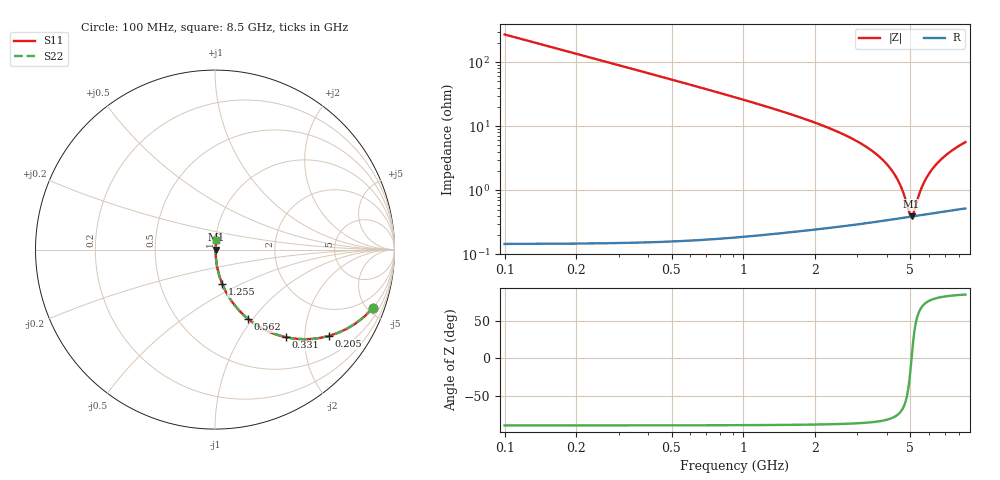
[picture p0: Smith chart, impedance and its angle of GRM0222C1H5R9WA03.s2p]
!Murata Part Number: GRM0222C1H5R9WA03
!These Parameters are Measured in Series Mode Connection
!Data Generated on Mar 30, 2021
!  o--ll--o
!Port1  Port2
!  o------o
!Operation Temp=25[degC], DC Bias Voltage=0[V]
!Freq. Start=100[MHz] Stop=9[GHz] 401[Steps]
# Hz S RI R 50
!Freq.(Hz) S11(Real) S11(Imag) S21(Real) S21(Imag) S12(Real) S12(Imag) S22(Real) S22(Imag)
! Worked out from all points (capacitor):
!   401 points, 100 MHz to 8.5 GHz, reference 50 ohm
!   read as one part in series: C = 5.9 pF near 142 MHz
!   lowest |Z| = 390 mohm at 5.056 GHz (marker M1)
!   series resonance near 5.059 GHz, so ESL is about 170 pH
!   S11 on the Smith chart (normalised r, x): 100 MHz: 1.00, -5.39; 205 MHz: 1.00, -2.63; 331 MHz: 1.00, -1.62; 562 MHz: 1.00, -0.95; 1.255 GHz: 1.00, -0.40; 8.5 GHz: 1.01, +0.11
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1e8  0.879 -0.3259  0.121 0.3259  0.121 0.3259  0.879 -0.3259
1.42e8  0.7826 -0.4121  0.2174 0.4121  0.2174 0.4121  0.7826 -0.4121
2.05e8  0.6329 -0.4814  0.3671 0.4814  0.3671 0.4814  0.6329 -0.4814
3.31e8  0.3971 -0.4884  0.6029 0.4884  0.6029 0.4884  0.3971 -0.4884
4.36e8  0.2741 -0.4448  0.7259 0.4448  0.7259 0.4448  0.2741 -0.4448
5.62e8  0.1841 -0.3858  0.8159 0.3858  0.8159 0.3858  0.1841 -0.3858
8.35e8  0.0909 -0.2847  0.9091 0.2847  0.9091 0.2847  0.0909 -0.2847
1.255e9  0.0407 -0.1925  0.9593 0.1925  0.9593 0.1925  0.0407 -0.1925
1.507e9  0.0277 -0.1576  0.9723 0.1576  0.9723 0.1576  0.0277 -0.1576
2.914e9  0.0066 -0.0607  0.9934 0.0607  0.9934 0.0607  0.0066 -0.0607
3.733e9  0.00432 -0.0323  0.9957 0.0323  0.9957 0.0323  0.00432 -0.0323
4.3e9  0.00383 -0.017  0.9962 0.017  0.9962 0.017  0.00383 -0.017
4.594e9  0.00378 -0.0101  0.9962 0.0101  0.9962 0.0101  0.00378 -0.0101
4.951e9  0.00385 -0.00225  0.9962 0.00225  0.9962 0.00225  0.00385 -0.00225
5.056e9  0.00389 -6.78e-05  0.9961 6.78e-05  0.9961 6.78e-05  0.00389 -6.78e-05
5.14e9  0.00393 0.00164  0.9961 -0.00164  0.9961 -0.00164  0.00393 0.00164
5.434e9  0.00411 0.00742  0.9959 -0.00742  0.9959 -0.00742  0.00411 0.00742
5.707e9  0.00433 0.0125  0.9957 -0.0125  0.9957 -0.0125  0.00433 0.0125
5.98e9  0.00459 0.0174  0.9954 -0.0174  0.9954 -0.0174  0.00459 0.0174
6.295e9  0.00493 0.0228  0.9951 -0.0228  0.9951 -0.0228  0.00493 0.0228
7.114e9  0.00601 0.0357  0.994 -0.0357  0.994 -0.0357  0.00601 0.0357
8.5e9  0.00827 0.0554  0.9917 -0.0554  0.9917 -0.0554  0.00827 0.0554
